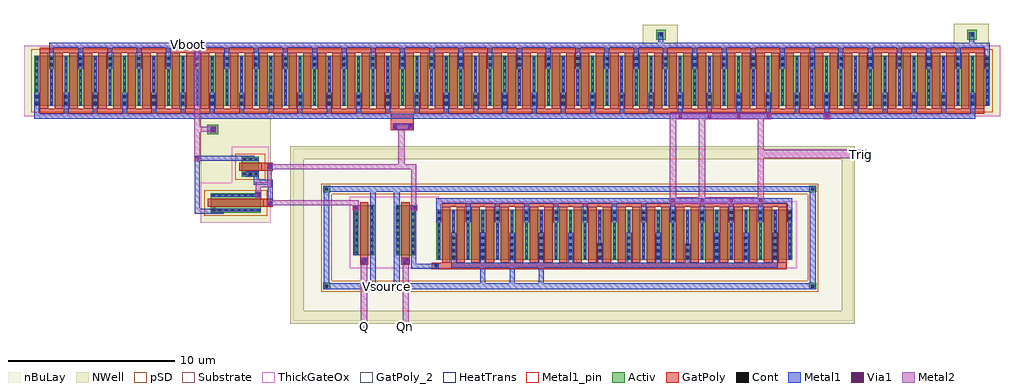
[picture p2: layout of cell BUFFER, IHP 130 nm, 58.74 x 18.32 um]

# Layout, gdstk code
from math import pi, radians
import gdstk
lib = gdstk.Library(unit=1e-6, precision=1e-09)
def R(c, l, rs):  # rectangles x0, y0, x1, y1
    for r in rs: c.add(gdstk.rectangle(r[:2], r[2:], *l))
def A(c, l, x, y, w, h, nx, ny, dx, dy):  # array of equal rectangles
    R(c, l, [(x+i*dx, y+j*dy, x+i*dx+w, y+j*dy+h) for i in range(nx) for j in range(ny)])
Activ = (1, 0)
GatPoly = (5, 0)
GatPoly_2 = (5, 2)
Cont = (6, 0)
Metal1 = (8, 0)
Metal1_pin = (8, 2)
Metal2 = (10, 0)
pSD = (14, 0)
Via1 = (19, 0)
NWell = (31, 0)
nBuLay = (32, 0)
Substrate = (40, 0)
ThickGateOx = (44, 0)
HeatTrans = (51, 0)

pmoshv_1 = lib.new_cell('pmosHV$1')
A(pmoshv_1, Activ, 0, 0, 0.3, 0.3, 66, 1, 0.88, 0)
R(pmoshv_1, Activ, [(0,0,57.5,3)])
A(pmoshv_1, GatPoly, 0.34, -0.18, 0.5, 3.36, 65, 1, 0.88, 0)
R(pmoshv_1, GatPoly_2, [(0.34,-0.18,0.84,3.18)])
A(pmoshv_1, Cont, 0.07, 0.07, 0.16, 0.16, 66, 7, 0.88, 0.385)
A(pmoshv_1, Cont, 0.07, 2.77, 0.16, 0.16, 66, 1, 0.88, 0)
A(pmoshv_1, Metal1, 0.07, 0, 0.16, 3, 66, 1, 0.88, 0)
R(pmoshv_1, Metal1_pin, [(0.07,0,0.23,3), (0.95,0,1.11,3)])
R(pmoshv_1, pSD, [(-0.18,-0.4,57.68,3.4)])
R(pmoshv_1, NWell, [(-0.62,-0.62,58.12,3.62)])
R(pmoshv_1, Substrate, [(57.2,0,57.5,0.3)])
R(pmoshv_1, ThickGateOx, [(-0.62,-0.62,58.12,3.62)])
A(pmoshv_1, HeatTrans, 0.34, -0.18, 0.5, 3.36, 65, 1, 0.88, 0)
pmoshv_1.add(gdstk.Label('pmosHV', (0.59,1.5), layer=63, texttype=0))
pmoshv_1.add(gdstk.Label('pmos', (0.59,1.5), layer=51, texttype=0))
pmoshv_1.add(gdstk.Label('pmos', (1.47,1.5), layer=51, texttype=0))
pmoshv_1.add(gdstk.Label('pmos', (2.35,1.5), layer=51, texttype=0))
pmoshv_1.add(gdstk.Label('pmos', (3.23,1.5), layer=51, texttype=0))
pmoshv_1.add(gdstk.Label('pmos', (4.11,1.5), layer=51, texttype=0))
pmoshv_1.add(gdstk.Label('pmos', (4.99,1.5), layer=51, texttype=0))
pmoshv_1.add(gdstk.Label('pmos', (5.87,1.5), layer=51, texttype=0))
pmoshv_1.add(gdstk.Label('pmos', (6.75,1.5), layer=51, texttype=0))
pmoshv_1.add(gdstk.Label('pmos', (7.63,1.5), layer=51, texttype=0))
pmoshv_1.add(gdstk.Label('pmos', (8.51,1.5), layer=51, texttype=0))
pmoshv_1.add(gdstk.Label('pmos', (9.39,1.5), layer=51, texttype=0))
pmoshv_1.add(gdstk.Label('pmos', (10.27,1.5), layer=51, texttype=0))
pmoshv_1.add(gdstk.Label('pmos', (11.15,1.5), layer=51, texttype=0))
pmoshv_1.add(gdstk.Label('pmos', (12.03,1.5), layer=51, texttype=0))
pmoshv_1.add(gdstk.Label('pmos', (12.91,1.5), layer=51, texttype=0))
pmoshv_1.add(gdstk.Label('pmos', (13.79,1.5), layer=51, texttype=0))
pmoshv_1.add(gdstk.Label('pmos', (14.67,1.5), layer=51, texttype=0))
pmoshv_1.add(gdstk.Label('pmos', (15.55,1.5), layer=51, texttype=0))
pmoshv_1.add(gdstk.Label('pmos', (16.43,1.5), layer=51, texttype=0))
pmoshv_1.add(gdstk.Label('pmos', (17.31,1.5), layer=51, texttype=0))
pmoshv_1.add(gdstk.Label('pmos', (18.19,1.5), layer=51, texttype=0))
pmoshv_1.add(gdstk.Label('pmos', (19.07,1.5), layer=51, texttype=0))
pmoshv_1.add(gdstk.Label('pmos', (19.95,1.5), layer=51, texttype=0))
pmoshv_1.add(gdstk.Label('pmos', (20.83,1.5), layer=51, texttype=0))
pmoshv_1.add(gdstk.Label('pmos', (21.71,1.5), layer=51, texttype=0))
pmoshv_1.add(gdstk.Label('pmos', (22.59,1.5), layer=51, texttype=0))
pmoshv_1.add(gdstk.Label('pmos', (23.47,1.5), layer=51, texttype=0))
pmoshv_1.add(gdstk.Label('pmos', (24.35,1.5), layer=51, texttype=0))
pmoshv_1.add(gdstk.Label('pmos', (25.23,1.5), layer=51, texttype=0))
pmoshv_1.add(gdstk.Label('pmos', (26.11,1.5), layer=51, texttype=0))
pmoshv_1.add(gdstk.Label('pmos', (26.99,1.5), layer=51, texttype=0))
pmoshv_1.add(gdstk.Label('pmos', (27.87,1.5), layer=51, texttype=0))
pmoshv_1.add(gdstk.Label('pmos', (28.75,1.5), layer=51, texttype=0))
pmoshv_1.add(gdstk.Label('pmos', (29.63,1.5), layer=51, texttype=0))
pmoshv_1.add(gdstk.Label('pmos', (30.51,1.5), layer=51, texttype=0))
pmoshv_1.add(gdstk.Label('pmos', (31.39,1.5), layer=51, texttype=0))
pmoshv_1.add(gdstk.Label('pmos', (32.27,1.5), layer=51, texttype=0))
pmoshv_1.add(gdstk.Label('pmos', (33.15,1.5), layer=51, texttype=0))
pmoshv_1.add(gdstk.Label('pmos', (34.03,1.5), layer=51, texttype=0))
pmoshv_1.add(gdstk.Label('pmos', (34.91,1.5), layer=51, texttype=0))
pmoshv_1.add(gdstk.Label('pmos', (35.79,1.5), layer=51, texttype=0))
pmoshv_1.add(gdstk.Label('pmos', (36.67,1.5), layer=51, texttype=0))
pmoshv_1.add(gdstk.Label('pmos', (37.55,1.5), layer=51, texttype=0))
pmoshv_1.add(gdstk.Label('pmos', (38.43,1.5), layer=51, texttype=0))
pmoshv_1.add(gdstk.Label('pmos', (39.31,1.5), layer=51, texttype=0))
pmoshv_1.add(gdstk.Label('pmos', (40.19,1.5), layer=51, texttype=0))
pmoshv_1.add(gdstk.Label('pmos', (41.07,1.5), layer=51, texttype=0))
pmoshv_1.add(gdstk.Label('pmos', (41.95,1.5), layer=51, texttype=0))
pmoshv_1.add(gdstk.Label('pmos', (42.83,1.5), layer=51, texttype=0))
pmoshv_1.add(gdstk.Label('pmos', (43.71,1.5), layer=51, texttype=0))
pmoshv_1.add(gdstk.Label('pmos', (44.59,1.5), layer=51, texttype=0))
pmoshv_1.add(gdstk.Label('pmos', (45.47,1.5), layer=51, texttype=0))
pmoshv_1.add(gdstk.Label('pmos', (46.35,1.5), layer=51, texttype=0))
pmoshv_1.add(gdstk.Label('pmos', (47.23,1.5), layer=51, texttype=0))
pmoshv_1.add(gdstk.Label('pmos', (48.11,1.5), layer=51, texttype=0))
pmoshv_1.add(gdstk.Label('pmos', (48.99,1.5), layer=51, texttype=0))
pmoshv_1.add(gdstk.Label('pmos', (49.87,1.5), layer=51, texttype=0))
pmoshv_1.add(gdstk.Label('pmos', (50.75,1.5), layer=51, texttype=0))
pmoshv_1.add(gdstk.Label('pmos', (51.63,1.5), layer=51, texttype=0))
pmoshv_1.add(gdstk.Label('pmos', (52.51,1.5), layer=51, texttype=0))
pmoshv_1.add(gdstk.Label('pmos', (53.39,1.5), layer=51, texttype=0))
pmoshv_1.add(gdstk.Label('pmos', (54.27,1.5), layer=51, texttype=0))
pmoshv_1.add(gdstk.Label('pmos', (55.15,1.5), layer=51, texttype=0))
pmoshv_1.add(gdstk.Label('pmos', (56.03,1.5), layer=51, texttype=0))
pmoshv_1.add(gdstk.Label('pmos', (56.91,1.5), layer=51, texttype=0))

c_m1 = lib.new_cell('C_M1')
R(c_m1, Cont, [(-0.08,-0.08,0.08,0.08)])
R(c_m1, Metal1, [(-0.15,-0.15,0.15,0.15)])

m1_m2 = lib.new_cell('M1_M2')
R(m1_m2, Metal1, [(-0.15,-0.15,0.15,0.15)])
R(m1_m2, Metal2, [(-0.19,-0.19,0.19,0.19)])
R(m1_m2, Via1, [(-0.095,-0.095,0.095,0.095)])

nmoshv = lib.new_cell('nmosHV')
R(nmoshv, Activ, [(0,0,0.3,0.3), (0,0,1.18,3), (0.88,0,1.18,0.3)])
R(nmoshv, GatPoly, [(0.34,-0.18,0.84,3.18)])
R(nmoshv, GatPoly_2, [(0.34,-0.18,0.84,3.18)])
A(nmoshv, Cont, 0.07, 0.07, 0.16, 0.16, 1, 7, 0, 0.385)
A(nmoshv, Cont, 0.95, 0.07, 0.16, 0.16, 1, 7, 0, 0.385)
R(nmoshv, Cont, [(0.07,2.77,0.23,2.93), (0.95,2.77,1.11,2.93)])
R(nmoshv, Metal1, [(0.07,0,0.23,3), (0.95,0,1.11,3)])
R(nmoshv, Metal1_pin, [(0.07,0,0.23,3), (0.95,0,1.11,3)])
R(nmoshv, ThickGateOx, [(-0.27,-0.52,1.45,3.52)])
R(nmoshv, HeatTrans, [(0.34,-0.18,0.84,3.18)])
nmoshv.add(gdstk.Label('nmosHV', (0.59,1.5), layer=63, texttype=0))
nmoshv.add(gdstk.Label('nmosHV', (0.59,1.5), layer=51, texttype=0))

pmoshv = lib.new_cell('pmosHV')
R(pmoshv, Activ, [(0,0,0.3,0.3), (0,0,1.18,1), (0.88,0,1.18,0.3)])
R(pmoshv, GatPoly, [(0.34,-0.18,0.84,1.18)])
R(pmoshv, GatPoly_2, [(0.34,-0.18,0.84,1.18)])
A(pmoshv, Cont, 0.07, 0.07, 0.16, 0.16, 1, 3, 0, 0.35)
A(pmoshv, Cont, 0.95, 0.07, 0.16, 0.16, 1, 3, 0, 0.35)
R(pmoshv, Metal1, [(0.07,0,0.23,1), (0.95,0,1.11,1)])
R(pmoshv, Metal1_pin, [(0.07,0,0.23,1), (0.95,0,1.11,1)])
R(pmoshv, pSD, [(-0.18,-0.4,1.36,1.4)])
R(pmoshv, NWell, [(-0.62,-0.62,1.8,1.62)])
R(pmoshv, Substrate, [(0.88,0,1.18,0.3)])
R(pmoshv, ThickGateOx, [(-0.62,-0.62,1.8,1.62)])
R(pmoshv, HeatTrans, [(0.34,-0.18,0.84,1.18)])
pmoshv.add(gdstk.Label('pmosHV', (0.59,0.5), layer=63, texttype=0))
pmoshv.add(gdstk.Label('pmos', (0.59,0.5), layer=51, texttype=0))

pmoshv_2 = lib.new_cell('pmosHV$2')
R(pmoshv_2, Activ, [(0,0,0.3,0.3), (0,0,1.18,3), (0.88,0,1.18,0.3)])
R(pmoshv_2, GatPoly, [(0.34,-0.18,0.84,3.18)])
R(pmoshv_2, GatPoly_2, [(0.34,-0.18,0.84,3.18)])
A(pmoshv_2, Cont, 0.07, 0.07, 0.16, 0.16, 1, 7, 0, 0.385)
A(pmoshv_2, Cont, 0.95, 0.07, 0.16, 0.16, 1, 7, 0, 0.385)
R(pmoshv_2, Cont, [(0.07,2.77,0.23,2.93), (0.95,2.77,1.11,2.93)])
R(pmoshv_2, Metal1, [(0.07,0,0.23,3), (0.95,0,1.11,3)])
R(pmoshv_2, Metal1_pin, [(0.07,0,0.23,3), (0.95,0,1.11,3)])
R(pmoshv_2, pSD, [(-0.18,-0.4,1.36,3.4)])
R(pmoshv_2, NWell, [(-0.62,-0.62,1.8,3.62)])
R(pmoshv_2, Substrate, [(0.88,0,1.18,0.3)])
R(pmoshv_2, ThickGateOx, [(-0.62,-0.62,1.8,3.62)])
R(pmoshv_2, HeatTrans, [(0.34,-0.18,0.84,3.18)])
pmoshv_2.add(gdstk.Label('pmosHV', (0.59,1.5), layer=63, texttype=0))
pmoshv_2.add(gdstk.Label('pmos', (0.59,1.5), layer=51, texttype=0))

nmoshv_2 = lib.new_cell('nmosHV$2')
A(nmoshv_2, Activ, 0, 0, 0.3, 0.3, 25, 1, 0.88, 0)
R(nmoshv_2, Activ, [(0,0,21.42,3)])
A(nmoshv_2, GatPoly, 0.34, -0.18, 0.5, 3.36, 24, 1, 0.88, 0)
R(nmoshv_2, GatPoly_2, [(0.34,-0.18,0.84,3.18)])
A(nmoshv_2, Cont, 0.07, 0.07, 0.16, 0.16, 25, 7, 0.88, 0.385)
A(nmoshv_2, Cont, 0.07, 2.77, 0.16, 0.16, 25, 1, 0.88, 0)
A(nmoshv_2, Metal1, 0.07, 0, 0.16, 3, 25, 1, 0.88, 0)
R(nmoshv_2, Metal1_pin, [(0.07,0,0.23,3), (0.95,0,1.11,3)])
R(nmoshv_2, ThickGateOx, [(-0.27,-0.52,21.69,3.52)])
A(nmoshv_2, HeatTrans, 0.34, -0.18, 0.5, 3.36, 24, 1, 0.88, 0)
nmoshv_2.add(gdstk.Label('nmosHV', (0.59,1.5), layer=63, texttype=0))
nmoshv_2.add(gdstk.Label('nmosHV', (0.59,1.5), layer=51, texttype=0))
nmoshv_2.add(gdstk.Label('nmosHV', (1.47,1.5), layer=51, texttype=0))
nmoshv_2.add(gdstk.Label('nmosHV', (2.35,1.5), layer=51, texttype=0))
nmoshv_2.add(gdstk.Label('nmosHV', (3.23,1.5), layer=51, texttype=0))
nmoshv_2.add(gdstk.Label('nmosHV', (4.11,1.5), layer=51, texttype=0))
nmoshv_2.add(gdstk.Label('nmosHV', (4.99,1.5), layer=51, texttype=0))
nmoshv_2.add(gdstk.Label('nmosHV', (5.87,1.5), layer=51, texttype=0))
nmoshv_2.add(gdstk.Label('nmosHV', (6.75,1.5), layer=51, texttype=0))
nmoshv_2.add(gdstk.Label('nmosHV', (7.63,1.5), layer=51, texttype=0))
nmoshv_2.add(gdstk.Label('nmosHV', (8.51,1.5), layer=51, texttype=0))
nmoshv_2.add(gdstk.Label('nmosHV', (9.39,1.5), layer=51, texttype=0))
nmoshv_2.add(gdstk.Label('nmosHV', (10.27,1.5), layer=51, texttype=0))
nmoshv_2.add(gdstk.Label('nmosHV', (11.15,1.5), layer=51, texttype=0))
nmoshv_2.add(gdstk.Label('nmosHV', (12.03,1.5), layer=51, texttype=0))
nmoshv_2.add(gdstk.Label('nmosHV', (12.91,1.5), layer=51, texttype=0))
nmoshv_2.add(gdstk.Label('nmosHV', (13.79,1.5), layer=51, texttype=0))
nmoshv_2.add(gdstk.Label('nmosHV', (14.67,1.5), layer=51, texttype=0))
nmoshv_2.add(gdstk.Label('nmosHV', (15.55,1.5), layer=51, texttype=0))
nmoshv_2.add(gdstk.Label('nmosHV', (16.43,1.5), layer=51, texttype=0))
nmoshv_2.add(gdstk.Label('nmosHV', (17.31,1.5), layer=51, texttype=0))
nmoshv_2.add(gdstk.Label('nmosHV', (18.19,1.5), layer=51, texttype=0))
nmoshv_2.add(gdstk.Label('nmosHV', (19.07,1.5), layer=51, texttype=0))
nmoshv_2.add(gdstk.Label('nmosHV', (19.95,1.5), layer=51, texttype=0))
nmoshv_2.add(gdstk.Label('nmosHV', (20.83,1.5), layer=51, texttype=0))

buffer = lib.new_cell('BUFFER')
R(buffer, Activ, [(-18.83,-15.3,-18.41,-14.9), (10.435,-15.3,10.855,-14.9), (-18.83,-9.45,-18.41,-9.05), (10.435,-9.45,10.855,-9.05), (-25.8,-5.955,-25.15,-5.385), (1.21,-0.255,1.785,0.32), (19.925,-0.255,20.5,0.32)])
R(buffer, GatPoly, [(-12.29,-14.095,9.065,-13.69), (-11.675,-13.905,-11.175,-13.02), (-16.605,-13.805,-16.105,-13.365), (-14.125,-13.805,-13.625,-13.365), (-22.55,-10.335,-21.87,-9.835), (-11.67,-10.33,9.065,-10.115), (-22.55,-8.165,-21.87,-7.665), (-14.755,-5.725,-13.375,-4.42), (-35.875,-4.715,20.945,-4.42), (-35.875,-1.06,20.945,-0.765)])
R(buffer, Metal1, [(-7.605,-15.185,-7.3,-13.145), (-9.365,-15.17,-9.065,-13.085), (-15.995,-15.105,-15.655,-9.33), (-14.575,-15.105,-14.235,-9.305), (-5.86,-15.105,-5.55,-13.185), (-14.455,-5.645,-13.695,-5.345), (1.35,-0.695,1.65,0.04), (20.065,-0.695,20.365,0.04)])
R(buffer, Metal2, [(-16.555,-17.63,-16.175,-13.765), (-14.055,-17.61,-13.675,-13.785), (-16.895,-10.19,-16.675,-9.93), (-14.36,-5.685,-13.7,-5.305)])
R(buffer, NWell, [(-26.21,-9.095,-21.97,-4.715), (0.41,-0.84,2.525,0.64), (19.125,-0.84,21.24,0.69)])
R(buffer, nBuLay, [(-20.63,-17.19,13.06,-6.84)])
R(buffer, ThickGateOx, [(-17.215,-14.03,-11.815,-12.635), (-15.675,-13.75,-14.705,-12.76), (-16.875,-12.865,-11.875,-9.71)])
buffer.add(gdstk.FlexPath([(21.14,-1.855),(21.14,-0.615),(-34.785,-0.615)], 0.3, ends="extended", simple_path=True, layer=8, datatype=0))  # Metal1
buffer.add(gdstk.FlexPath([(-36.06,-3.62),(-36.06,-4.86),(19.865,-4.86)], 0.3, ends="extended", simple_path=True, layer=8, datatype=0))  # Metal1
buffer.add(gdstk.FlexPath([(8.375,-12.03),(8.375,-13.84),(-10.98,-13.84)], 0.3, ends="extended", simple_path=True, layer=8, datatype=0))  # Metal1
buffer.add(gdstk.FlexPath([(-11.865,-11.1),(-11.865,-9.945),(9.26,-9.945)], 0.3, ends="extended", simple_path=True, layer=8, datatype=0))  # Metal1
buffer.add(gdstk.FlexPath([(-7.455,-12.03),(-7.455,-13.15)], 0.3, ends="extended", simple_path=True, layer=8, datatype=0))  # Metal1
buffer.add(gdstk.FlexPath([(-18.625,-9.255),(10.64,-9.255),(10.64,-15.105),(-18.625,-15.105),(-18.625,-9.255)], 0.35, ends="extended", simple_path=True, layer=8, datatype=0))  # Metal1
buffer.add(gdstk.FlexPath([(-23.135,-7.405),(-23.405,-7.405),(-26.41,-7.405),(-26.41,-10.595),(-24.975,-10.595)], 0.3, ends="extended", simple_path=True, layer=8, datatype=0))  # Metal1
buffer.add(gdstk.FlexPath([(-1.75,-1.855),(-1.75,-0.615)], 0.3, ends="extended", simple_path=True, layer=8, datatype=0))  # Metal1
buffer.add(gdstk.FlexPath([(-3.5,-1.855),(-3.5,-0.615)], 0.3, ends="extended", simple_path=True, layer=8, datatype=0))  # Metal1
buffer.add(gdstk.FlexPath([(19.38,-1.855),(19.38,-0.685)], 0.3, ends="extended", simple_path=True, layer=8, datatype=0))  # Metal1
buffer.add(gdstk.FlexPath([(-4.37,-3.62),(-4.37,-4.765)], 0.3, ends="extended", simple_path=True, layer=8, datatype=0))  # Metal1
buffer.add(gdstk.FlexPath([(-2.615,-3.62),(-2.615,-4.77)], 0.3, ends="extended", simple_path=True, layer=8, datatype=0))  # Metal1
buffer.add(gdstk.FlexPath([(-0.845,-3.62),(-0.845,-4.755)], 0.3, ends="extended", simple_path=True, layer=8, datatype=0))  # Metal1
buffer.add(gdstk.FlexPath([(0.905,-3.62),(0.905,-4.76)], 0.3, ends="extended", simple_path=True, layer=8, datatype=0))  # Metal1
buffer.add(gdstk.FlexPath([(2.655,-3.62),(2.655,-4.76)], 0.3, ends="extended", simple_path=True, layer=8, datatype=0))  # Metal1
buffer.add(gdstk.FlexPath([(4.42,-3.62),(4.42,-4.785)], 0.3, ends="extended", simple_path=True, layer=8, datatype=0))  # Metal1
buffer.add(gdstk.FlexPath([(6.185,-3.62),(6.185,-4.71)], 0.3, ends="extended", simple_path=True, layer=8, datatype=0))  # Metal1
buffer.add(gdstk.FlexPath([(7.95,-3.62),(7.95,-4.8)], 0.3, ends="extended", simple_path=True, layer=8, datatype=0))  # Metal1
buffer.add(gdstk.FlexPath([(9.705,-3.62),(9.705,-4.82)], 0.3, ends="extended", simple_path=True, layer=8, datatype=0))  # Metal1
buffer.add(gdstk.FlexPath([(11.47,-3.62),(11.47,-4.805)], 0.3, ends="extended", simple_path=True, layer=8, datatype=0))  # Metal1
buffer.add(gdstk.FlexPath([(13.22,-3.62),(13.22,-4.76)], 0.3, ends="extended", simple_path=True, layer=8, datatype=0))  # Metal1
buffer.add(gdstk.FlexPath([(14.99,-3.62),(14.99,-4.78)], 0.3, ends="extended", simple_path=True, layer=8, datatype=0))  # Metal1
buffer.add(gdstk.FlexPath([(16.74,-3.62),(16.74,-4.77)], 0.3, ends="extended", simple_path=True, layer=8, datatype=0))  # Metal1
buffer.add(gdstk.FlexPath([(18.51,-3.62),(18.51,-4.785)], 0.3, ends="extended", simple_path=True, layer=8, datatype=0))  # Metal1
buffer.add(gdstk.FlexPath([(19.675,-4.86),(20.26,-4.86),(20.26,-3.62)], 0.3, ends="extended", simple_path=True, layer=8, datatype=0))  # Metal1
buffer.add(gdstk.FlexPath([(14.095,-1.855),(14.095,-0.71)], 0.3, ends="extended", simple_path=True, layer=8, datatype=0))  # Metal1
buffer.add(gdstk.FlexPath([(12.325,-1.855),(12.325,-0.705)], 0.3, ends="extended", simple_path=True, layer=8, datatype=0))  # Metal1
buffer.add(gdstk.FlexPath([(7.04,-1.855),(7.04,-0.71)], 0.3, ends="extended", simple_path=True, layer=8, datatype=0))  # Metal1
buffer.add(gdstk.FlexPath([(1.77,-1.855),(1.77,-0.765)], 0.3, ends="extended", simple_path=True, layer=8, datatype=0))  # Metal1
buffer.add(gdstk.FlexPath([(0.02,-1.855),(0.02,-0.765)], 0.3, ends="extended", simple_path=True, layer=8, datatype=0))  # Metal1
buffer.add(gdstk.FlexPath([(15.855,-1.855),(15.855,-0.765)], 0.3, ends="extended", simple_path=True, layer=8, datatype=0))  # Metal1
buffer.add(gdstk.FlexPath([(8.8,-1.855),(8.8,-0.765)], 0.3, ends="extended", simple_path=True, layer=8, datatype=0))  # Metal1
buffer.add(gdstk.FlexPath([(3.535,-1.855),(3.535,-0.765)], 0.3, ends="extended", simple_path=True, layer=8, datatype=0))  # Metal1
buffer.add(gdstk.FlexPath([(-6.12,-3.62),(-6.12,-4.765)], 0.3, ends="extended", simple_path=True, layer=8, datatype=0))  # Metal1
buffer.add(gdstk.FlexPath([(-5.27,-1.855),(-5.27,-0.695)], 0.3, ends="extended", simple_path=True, layer=8, datatype=0))  # Metal1
buffer.add(gdstk.FlexPath([(-7.025,-1.855),(-7.025,-0.71)], 0.3, ends="extended", simple_path=True, layer=8, datatype=0))  # Metal1
buffer.add(gdstk.FlexPath([(-6.12,-3.62),(-6.12,-4.765)], 0.3, ends="extended", simple_path=True, layer=8, datatype=0))  # Metal1
buffer.add(gdstk.FlexPath([(-4.37,-3.62),(-4.37,-4.765)], 0.3, ends="extended", simple_path=True, layer=8, datatype=0))  # Metal1
buffer.add(gdstk.FlexPath([(-2.615,-3.62),(-2.615,-4.77)], 0.3, ends="extended", simple_path=True, layer=8, datatype=0))  # Metal1
buffer.add(gdstk.FlexPath([(-0.845,-3.62),(-0.845,-4.755)], 0.3, ends="extended", simple_path=True, layer=8, datatype=0))  # Metal1
buffer.add(gdstk.FlexPath([(0.905,-3.62),(0.905,-4.76)], 0.3, ends="extended", simple_path=True, layer=8, datatype=0))  # Metal1
buffer.add(gdstk.FlexPath([(2.655,-3.62),(2.655,-4.76)], 0.3, ends="extended", simple_path=True, layer=8, datatype=0))  # Metal1
buffer.add(gdstk.FlexPath([(4.42,-3.62),(4.42,-4.785)], 0.3, ends="extended", simple_path=True, layer=8, datatype=0))  # Metal1
buffer.add(gdstk.FlexPath([(6.185,-3.62),(6.185,-4.71)], 0.3, ends="extended", simple_path=True, layer=8, datatype=0))  # Metal1
buffer.add(gdstk.FlexPath([(7.95,-3.62),(7.95,-4.8)], 0.3, ends="extended", simple_path=True, layer=8, datatype=0))  # Metal1
buffer.add(gdstk.FlexPath([(9.705,-3.62),(9.705,-4.82)], 0.3, ends="extended", simple_path=True, layer=8, datatype=0))  # Metal1
buffer.add(gdstk.FlexPath([(11.47,-3.62),(11.47,-4.805)], 0.3, ends="extended", simple_path=True, layer=8, datatype=0))  # Metal1
buffer.add(gdstk.FlexPath([(13.22,-3.62),(13.22,-4.76)], 0.3, ends="extended", simple_path=True, layer=8, datatype=0))  # Metal1
buffer.add(gdstk.FlexPath([(14.99,-3.62),(14.99,-4.78)], 0.3, ends="extended", simple_path=True, layer=8, datatype=0))  # Metal1
buffer.add(gdstk.FlexPath([(16.74,-3.62),(16.74,-4.77)], 0.3, ends="extended", simple_path=True, layer=8, datatype=0))  # Metal1
buffer.add(gdstk.FlexPath([(18.51,-3.62),(18.51,-4.785)], 0.3, ends="extended", simple_path=True, layer=8, datatype=0))  # Metal1
buffer.add(gdstk.FlexPath([(19.675,-4.86),(19.87,-4.86),(20.26,-4.86),(20.26,-3.62)], 0.3, ends="extended", simple_path=True, layer=8, datatype=0))  # Metal1
buffer.add(gdstk.FlexPath([(19.38,-1.855),(19.38,-0.685)], 0.3, ends="extended", simple_path=True, layer=8, datatype=0))  # Metal1
buffer.add(gdstk.FlexPath([(15.855,-1.855),(15.855,-0.765)], 0.3, ends="extended", simple_path=True, layer=8, datatype=0))  # Metal1
buffer.add(gdstk.FlexPath([(14.095,-1.855),(14.095,-0.71)], 0.3, ends="extended", simple_path=True, layer=8, datatype=0))  # Metal1
buffer.add(gdstk.FlexPath([(12.325,-1.855),(12.325,-0.705)], 0.3, ends="extended", simple_path=True, layer=8, datatype=0))  # Metal1
buffer.add(gdstk.FlexPath([(8.8,-1.855),(8.8,-0.765)], 0.3, ends="extended", simple_path=True, layer=8, datatype=0))  # Metal1
buffer.add(gdstk.FlexPath([(7.04,-1.855),(7.04,-0.71)], 0.3, ends="extended", simple_path=True, layer=8, datatype=0))  # Metal1
buffer.add(gdstk.FlexPath([(1.77,-1.855),(1.77,-0.765)], 0.3, ends="extended", simple_path=True, layer=8, datatype=0))  # Metal1
buffer.add(gdstk.FlexPath([(0.02,-1.855),(0.02,-0.765)], 0.3, ends="extended", simple_path=True, layer=8, datatype=0))  # Metal1
buffer.add(gdstk.FlexPath([(-1.75,-1.855),(-1.75,-0.615)], 0.3, ends="extended", simple_path=True, layer=8, datatype=0))  # Metal1
buffer.add(gdstk.FlexPath([(-3.5,-1.855),(-3.5,-0.615)], 0.3, ends="extended", simple_path=True, layer=8, datatype=0))  # Metal1
buffer.add(gdstk.FlexPath([(-5.27,-1.855),(-5.27,-0.695)], 0.3, ends="extended", simple_path=True, layer=8, datatype=0))  # Metal1
buffer.add(gdstk.FlexPath([(3.535,-1.855),(3.535,-0.765)], 0.3, ends="extended", simple_path=True, layer=8, datatype=0))  # Metal1
buffer.add(gdstk.FlexPath([(17.63,-1.855),(17.63,-0.685)], 0.3, ends="extended", simple_path=True, layer=8, datatype=0))  # Metal1
buffer.add(gdstk.FlexPath([(10.595,-1.855),(10.595,-0.685)], 0.3, ends="extended", simple_path=True, layer=8, datatype=0))  # Metal1
buffer.add(gdstk.FlexPath([(5.305,-1.855),(5.305,-0.685)], 0.3, ends="extended", simple_path=True, layer=8, datatype=0))  # Metal1
buffer.add(gdstk.FlexPath([(-7.01,-1.855),(-7.01,-0.685)], 0.3, ends="extended", simple_path=True, layer=8, datatype=0))  # Metal1
buffer.add(gdstk.FlexPath([(-9.65,-3.62),(-9.65,-4.78)], 0.3, ends="extended", simple_path=True, layer=8, datatype=0))  # Metal1
buffer.add(gdstk.FlexPath([(-10.55,-1.855),(-10.55,-0.71)], 0.3, ends="extended", simple_path=True, layer=8, datatype=0))  # Metal1
buffer.add(gdstk.FlexPath([(-12.305,-1.855),(-12.305,-0.705)], 0.3, ends="extended", simple_path=True, layer=8, datatype=0))  # Metal1
buffer.add(gdstk.FlexPath([(-14.075,-1.855),(-14.075,-0.72)], 0.3, ends="extended", simple_path=True, layer=8, datatype=0))  # Metal1
buffer.add(gdstk.FlexPath([(-15.825,-1.855),(-15.825,-0.715)], 0.3, ends="extended", simple_path=True, layer=8, datatype=0))  # Metal1
buffer.add(gdstk.FlexPath([(-17.575,-1.855),(-17.575,-0.715)], 0.3, ends="extended", simple_path=True, layer=8, datatype=0))  # Metal1
buffer.add(gdstk.FlexPath([(-19.34,-1.855),(-19.34,-0.69)], 0.3, ends="extended", simple_path=True, layer=8, datatype=0))  # Metal1
buffer.add(gdstk.FlexPath([(-21.105,-1.855),(-21.105,-0.765)], 0.3, ends="extended", simple_path=True, layer=8, datatype=0))  # Metal1
buffer.add(gdstk.FlexPath([(-22.87,-1.855),(-22.87,-0.675)], 0.3, ends="extended", simple_path=True, layer=8, datatype=0))  # Metal1
buffer.add(gdstk.FlexPath([(-24.625,-1.855),(-24.625,-0.655)], 0.3, ends="extended", simple_path=True, layer=8, datatype=0))  # Metal1
buffer.add(gdstk.FlexPath([(-26.39,-1.855),(-26.39,-0.67)], 0.3, ends="extended", simple_path=True, layer=8, datatype=0))  # Metal1
buffer.add(gdstk.FlexPath([(-28.14,-1.855),(-28.14,-0.715)], 0.3, ends="extended", simple_path=True, layer=8, datatype=0))  # Metal1
buffer.add(gdstk.FlexPath([(-29.91,-1.855),(-29.91,-0.695)], 0.3, ends="extended", simple_path=True, layer=8, datatype=0))  # Metal1
buffer.add(gdstk.FlexPath([(-31.66,-1.855),(-31.66,-0.705)], 0.3, ends="extended", simple_path=True, layer=8, datatype=0))  # Metal1
buffer.add(gdstk.FlexPath([(-33.43,-1.855),(-33.43,-0.69)], 0.3, ends="extended", simple_path=True, layer=8, datatype=0))  # Metal1
buffer.add(gdstk.FlexPath([(-34.595,-0.615),(-34.79,-0.615),(-35.18,-0.615),(-35.18,-1.855)], 0.3, ends="extended", simple_path=True, layer=8, datatype=0))  # Metal1
buffer.add(gdstk.FlexPath([(-8.8,-1.855),(-8.8,-0.71)], 0.3, ends="extended", simple_path=True, layer=8, datatype=0))  # Metal1
buffer.add(gdstk.FlexPath([(-34.3,-3.62),(-34.3,-4.79)], 0.3, ends="extended", simple_path=True, layer=8, datatype=0))  # Metal1
buffer.add(gdstk.FlexPath([(-30.775,-3.62),(-30.775,-4.71)], 0.3, ends="extended", simple_path=True, layer=8, datatype=0))  # Metal1
buffer.add(gdstk.FlexPath([(-29.015,-3.62),(-29.015,-4.765)], 0.3, ends="extended", simple_path=True, layer=8, datatype=0))  # Metal1
buffer.add(gdstk.FlexPath([(-27.245,-3.62),(-27.245,-4.77)], 0.3, ends="extended", simple_path=True, layer=8, datatype=0))  # Metal1
buffer.add(gdstk.FlexPath([(-23.72,-3.62),(-23.72,-4.71)], 0.3, ends="extended", simple_path=True, layer=8, datatype=0))  # Metal1
buffer.add(gdstk.FlexPath([(-21.96,-3.62),(-21.96,-4.765)], 0.3, ends="extended", simple_path=True, layer=8, datatype=0))  # Metal1
buffer.add(gdstk.FlexPath([(-16.69,-3.62),(-16.69,-4.71)], 0.3, ends="extended", simple_path=True, layer=8, datatype=0))  # Metal1
buffer.add(gdstk.FlexPath([(-18.455,-3.62),(-18.455,-4.71)], 0.3, ends="extended", simple_path=True, layer=8, datatype=0))  # Metal1
buffer.add(gdstk.FlexPath([(-14.94,-3.62),(-14.94,-4.71)], 0.3, ends="extended", simple_path=True, layer=8, datatype=0))  # Metal1
buffer.add(gdstk.FlexPath([(-13.17,-3.62),(-13.17,-4.86)], 0.3, ends="extended", simple_path=True, layer=8, datatype=0))  # Metal1
buffer.add(gdstk.FlexPath([(-32.55,-3.62),(-32.55,-4.79)], 0.3, ends="extended", simple_path=True, layer=8, datatype=0))  # Metal1
buffer.add(gdstk.FlexPath([(-25.515,-3.62),(-25.515,-4.79)], 0.3, ends="extended", simple_path=True, layer=8, datatype=0))  # Metal1
buffer.add(gdstk.FlexPath([(-20.225,-3.62),(-20.225,-4.79)], 0.3, ends="extended", simple_path=True, layer=8, datatype=0))  # Metal1
buffer.add(gdstk.FlexPath([(-7.91,-3.62),(-7.91,-4.79)], 0.3, ends="extended", simple_path=True, layer=8, datatype=0))  # Metal1
buffer.add(gdstk.FlexPath([(-11.42,-3.62),(-11.42,-4.86)], 0.3, ends="extended", simple_path=True, layer=8, datatype=0))  # Metal1
buffer.add(gdstk.FlexPath([(-10.1,-11.1),(-10.1,-10.115)], 0.3, ends="extended", simple_path=True, layer=8, datatype=0))  # Metal1
buffer.add(gdstk.FlexPath([(-16.865,-13.08),(-16.865,-10.38)], 0.3, ends="extended", simple_path=True, layer=8, datatype=0))  # Metal1
buffer.add(gdstk.FlexPath([(-13.365,-12.895),(-13.365,-10.38)], 0.3, ends="extended", simple_path=True, layer=8, datatype=0))  # Metal1
buffer.add(gdstk.FlexPath([(-12.045,-13.89),(-13.365,-13.89),(-13.365,-12.915)], 0.3, ends="extended", simple_path=True, layer=8, datatype=0))  # Metal1
buffer.add(gdstk.FlexPath([(-23.295,-8.345),(-22.865,-8.345),(-22.865,-8.85),(-22.02,-8.85),(-22.02,-10.08)], 0.3, ends="extended", simple_path=True, layer=8, datatype=0))  # Metal1
buffer.add(gdstk.FlexPath([(-10.98,-12.03),(-10.98,-12.95),(-10.98,-13.69)], 0.3, ends="extended", simple_path=True, layer=8, datatype=0))  # Metal1
buffer.add(gdstk.FlexPath([(-9.215,-12.03),(-9.215,-13.125)], 0.3, ends="extended", simple_path=True, layer=8, datatype=0))  # Metal1
buffer.add(gdstk.FlexPath([(-8.34,-11.1),(-8.34,-10.095)], 0.3, ends="extended", simple_path=True, layer=8, datatype=0))  # Metal1
buffer.add(gdstk.FlexPath([(-5.7,-12.03),(-5.7,-13.145)], 0.3, ends="extended", simple_path=True, layer=8, datatype=0))  # Metal1
buffer.add(gdstk.FlexPath([(-3.94,-12.03),(-3.94,-13.755)], 0.3, ends="extended", simple_path=True, layer=8, datatype=0))  # Metal1
buffer.add(gdstk.FlexPath([(-2.185,-12.635),(-2.185,-13.728)], 0.3, ends="extended", simple_path=True, layer=8, datatype=0))  # Metal1
buffer.add(gdstk.FlexPath([(-0.415,-12.03),(-0.415,-13.825)], 0.3, ends="extended", simple_path=True, layer=8, datatype=0))  # Metal1
buffer.add(gdstk.FlexPath([(1.35,-12.03),(1.35,-13.755)], 0.3, ends="extended", simple_path=True, layer=8, datatype=0))  # Metal1
buffer.add(gdstk.FlexPath([(3.1,-12.7),(3.1,-13.791)], 0.3, ends="extended", simple_path=True, layer=8, datatype=0))  # Metal1
buffer.add(gdstk.FlexPath([(4.865,-12.03),(4.865,-13.755)], 0.3, ends="extended", simple_path=True, layer=8, datatype=0))  # Metal1
buffer.add(gdstk.FlexPath([(6.62,-12.03),(6.62,-13.835)], 0.3, ends="extended", simple_path=True, layer=8, datatype=0))  # Metal1
buffer.add(gdstk.FlexPath([(8.375,-12.03),(8.375,-13.035)], 0.3, ends="extended", simple_path=True, layer=8, datatype=0))  # Metal1
buffer.add(gdstk.FlexPath([(-1.3,-11.1),(-1.3,-10.045)], 0.3, ends="extended", simple_path=True, layer=8, datatype=0))  # Metal1
buffer.add(gdstk.FlexPath([(-3.055,-11.1),(-3.055,-10.095)], 0.3, ends="extended", simple_path=True, layer=8, datatype=0))  # Metal1
buffer.add(gdstk.FlexPath([(-4.82,-11.1),(-4.82,-10.095)], 0.3, ends="extended", simple_path=True, layer=8, datatype=0))  # Metal1
buffer.add(gdstk.FlexPath([(-6.58,-11.1),(-6.58,-10.115)], 0.3, ends="extended", simple_path=True, layer=8, datatype=0))  # Metal1
buffer.add(gdstk.FlexPath([(9.26,-11.1),(9.26,-10.025)], 0.3, ends="extended", simple_path=True, layer=8, datatype=0))  # Metal1
buffer.add(gdstk.FlexPath([(7.505,-11.1),(7.505,-9.985)], 0.3, ends="extended", simple_path=True, layer=8, datatype=0))  # Metal1
buffer.add(gdstk.FlexPath([(5.735,-11.1),(5.735,-10.05)], 0.3, ends="extended", simple_path=True, layer=8, datatype=0))  # Metal1
buffer.add(gdstk.FlexPath([(3.97,-11.1),(3.97,-10)], 0.3, ends="extended", simple_path=True, layer=8, datatype=0))  # Metal1
buffer.add(gdstk.FlexPath([(2.22,-11.1),(2.22,-10.02)], 0.3, ends="extended", simple_path=True, layer=8, datatype=0))  # Metal1
buffer.add(gdstk.FlexPath([(0.455,-11.1),(0.455,-10.095)], 0.3, ends="extended", simple_path=True, layer=8, datatype=0))  # Metal1
buffer.add(gdstk.FlexPath([(-26.41,-7.405),(-26.41,-0.655)], 0.38, ends="extended", simple_path=True, layer=10, datatype=0))  # Metal2
buffer.add(gdstk.FlexPath([(-14.115,-7.82),(-14.115,-5.495)], 0.38, ends="extended", simple_path=True, layer=10, datatype=0))  # Metal2
buffer.add(gdstk.FlexPath([(7.95,-4.86),(2.22,-4.86),(2.22,-9.945),(7.505,-9.945),(7.505,-4.87)], 0.38, ends="extended", simple_path=True, layer=10, datatype=0))  # Metal2
buffer.add(gdstk.FlexPath([(3.965,-9.945),(3.965,-4.935)], 0.38, ends="extended", simple_path=True, layer=10, datatype=0))  # Metal2
buffer.add(gdstk.FlexPath([(-22.745,-9),(-22.06,-9),(-22.06,-7.945)], 0.3, ends="extended", simple_path=True, layer=10, datatype=0))  # Metal2
buffer.add(gdstk.FlexPath([(-16.865,-10.375),(-16.865,-10.08),(-22.02,-10.08)], 0.3, ends="extended", simple_path=True, layer=10, datatype=0))  # Metal2
buffer.add(gdstk.FlexPath([(-22.02,-7.91),(-13.365,-7.91),(-13.365,-10.38)], 0.3, ends="extended", simple_path=True, layer=10, datatype=0))  # Metal2
buffer.add(gdstk.FlexPath([(-25.445,-5.665),(-26.41,-5.665)], 0.3, ends="extended", simple_path=True, layer=10, datatype=0))  # Metal2
buffer.add(gdstk.FlexPath([(7.77,-7.15),(13.61,-7.15),(13.61,-7.15)], 0.5, ends="extended", simple_path=True, layer=10, datatype=0))  # Metal2
buffer.add(gdstk.FlexPath([(-22.75,-9),(-22.75,-9.395)], 0.3, ends="extended", simple_path=True, layer=10, datatype=0))  # Metal2
buffer.add(gdstk.FlexPath([(-18.625,-9.255),(-18.625,-15.105),(10.64,-15.105),(10.64,-9.255),(-18.625,-9.255)], 0.64, ends="extended", simple_path=True, layer=14, datatype=0))  # pSD
buffer.add(gdstk.FlexPath([(-17.87,-16.965),(12.77,-16.965),(12.77,-7.065),(-20.405,-7.065),(-20.405,-16.965),(-17.87,-16.965)], 0.8, ends="extended", simple_path=True, layer=31, datatype=0))  # NWell
buffer.add(gdstk.Reference(pmoshv_1, (21.285,-1.24), rotation=pi))
buffer.add(gdstk.Reference(c_m1, (-12.03,-13.89), rotation=pi))
buffer.add(gdstk.Reference(m1_m2, (-26.41,-0.615), rotation=pi))
buffer.add(gdstk.Reference(c_m1, (-14.465,-5.495), rotation=pi))
buffer.add(gdstk.Reference(c_m1, (-13.64,-5.495), rotation=pi))
buffer.add(gdstk.Reference(m1_m2, (-14.465,-5.495), rotation=pi))
buffer.add(gdstk.Reference(m1_m2, (-13.64,-5.495), rotation=pi))
buffer.add(gdstk.Reference(m1_m2, (2.655,-4.86), rotation=pi))
buffer.add(gdstk.Reference(m1_m2, (4.42,-4.86), rotation=pi))
buffer.add(gdstk.Reference(m1_m2, (6.185,-4.86), rotation=pi))
buffer.add(gdstk.Reference(m1_m2, (7.95,-4.86), rotation=pi))
buffer.add(gdstk.Reference(m1_m2, (7.505,-9.945), rotation=pi))
buffer.add(gdstk.Reference(m1_m2, (5.735,-9.945), rotation=pi))
buffer.add(gdstk.Reference(m1_m2, (3.975,-9.945), rotation=pi))
buffer.add(gdstk.Reference(m1_m2, (2.22,-9.945), rotation=pi))
buffer.add(gdstk.Reference(c_m1, (10.64,-15.105), rotation=pi))
buffer.add(gdstk.Reference(c_m1, (10.64,-9.255), rotation=pi))
buffer.add(gdstk.Reference(m1_m2, (-16.865,-10.38), rotation=pi))
buffer.add(gdstk.Reference(m1_m2, (-13.365,-10.38), rotation=pi))
buffer.add(gdstk.Reference(m1_m2, (-13.865,-13.605), rotation=pi))
buffer.add(gdstk.Reference(m1_m2, (-16.365,-13.59), rotation=pi))
buffer.add(gdstk.Reference(c_m1, (-13.865,-13.605), rotation=pi))
buffer.add(gdstk.Reference(c_m1, (-16.365,-13.59), rotation=pi))
buffer.add(gdstk.Reference(nmoshv, (-15.765,-10.23), rotation=pi))
buffer.add(gdstk.Reference(c_m1, (-18.625,-15.105), rotation=pi))
buffer.add(gdstk.Reference(c_m1, (-18.625,-9.255), rotation=pi))
buffer.add(gdstk.Reference(nmoshv, (-13.285,-10.23), rotation=pi))
buffer.add(gdstk.Reference(m1_m2, (-26.41,-7.405), rotation=pi))
buffer.add(gdstk.Reference(m1_m2, (-22.74,-9.575), rotation=pi))
buffer.add(gdstk.Reference(m1_m2, (-22.02,-10.08), rotation=pi))
buffer.add(gdstk.Reference(m1_m2, (-22.02,-7.91), rotation=pi))
buffer.add(gdstk.Reference(c_m1, (-22.02,-7.91), rotation=pi))
buffer.add(gdstk.Reference(c_m1, (-22.02,-10.08), rotation=pi))
buffer.add(gdstk.Reference(pmoshv, (-23.715,-7.325), rotation=3*pi/2))
buffer.add(gdstk.Reference(pmoshv_2, (-25.59,-9.495), rotation=3*pi/2))
buffer.add(gdstk.Reference(nmoshv_2, (9.405,-10.51), rotation=pi))
buffer.add(gdstk.Reference(c_m1, (-25.455,-5.675), rotation=pi))
buffer.add(gdstk.Reference(m1_m2, (-25.455,-5.675), rotation=pi))
buffer.add(gdstk.Reference(c_m1, (1.5,0.035), rotation=pi))
buffer.add(gdstk.Reference(c_m1, (20.215,0.035), rotation=pi))
buffer.add(gdstk.Reference(m1_m2, (11.49,-4.86)))
buffer.add(gdstk.Label('Vboot', (-26.925,-0.565), layer=8, texttype=25))
buffer.add(gdstk.Label('Vsource', (-15.015,-15.105), layer=8, texttype=25))
buffer.add(gdstk.Label('Qn', (-13.845,-17.5), layer=10, texttype=25))
buffer.add(gdstk.Label('Q', (-16.355,-17.535), layer=10, texttype=25))
buffer.add(gdstk.Label('Trig', (13.535,-7.15), layer=10, texttype=25))

lib.write_gds('BUFFER.gds')
